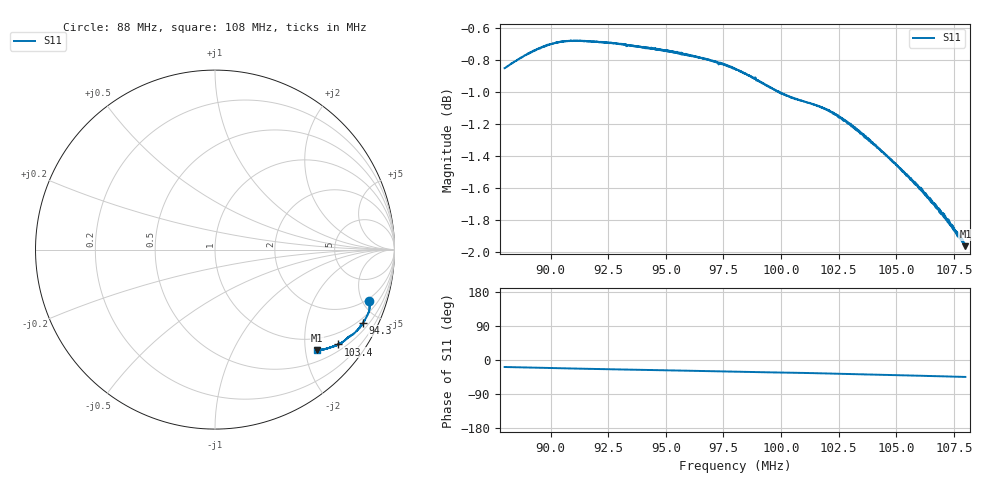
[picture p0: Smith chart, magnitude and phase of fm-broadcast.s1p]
! Calibrated averaged scanner-service zoom
# Hz S RI R 50
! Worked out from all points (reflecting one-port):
!   2001 points, 88 MHz to 108 MHz, reference 50 ohm
!   lowest |S11| = -2.0 dB at 108 MHz (marker M1), VSWR 8.88, Z = 36.3 - j112 ohm
!   phase of S11 starts at -18 deg and turns -26 deg over the sweep
!   S11 on the Smith chart (normalised r, x): 88 MHz: 1.74, -5.62; 94.3 MHz: 0.78, -4.12; 103.4 MHz: 0.66, -2.80; 108 MHz: 0.73, -2.24
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8.8e7  0.86 -0.2876
8.867e7  0.8619 -0.3025
8.929e7  0.8624 -0.3164
8.987e7  0.8613 -0.3297
9.05e7  0.8579 -0.3438
9.105e7  0.854 -0.3551
9.151e7  0.8501 -0.3639
9.3e7  0.8365 -0.3892
9.43e7  0.8238 -0.409
9.55e7  0.8114 -0.4266
9.688e7  0.795 -0.4473
9.75e7  0.7866 -0.4568
9.8e7  0.7785 -0.4637
9.862e7  0.7688 -0.472
9.91e7  0.7606 -0.4776
9.997e7  0.7468 -0.4859
1.005e8  0.7393 -0.4917
1.0124e8  0.729 -0.5007
1.0172e8  0.7212 -0.5075
1.0231e8  0.71 -0.5162
1.03e8  0.6945 -0.5246
1.0338e8  0.6861 -0.5282
1.0414e8  0.6683 -0.5368
1.055e8  0.6368 -0.5469
1.0618e8  0.6189 -0.5526
1.0703e8  0.5963 -0.5583
1.079e8  0.57 -0.5604
1.08e8  0.5674 -0.5605
